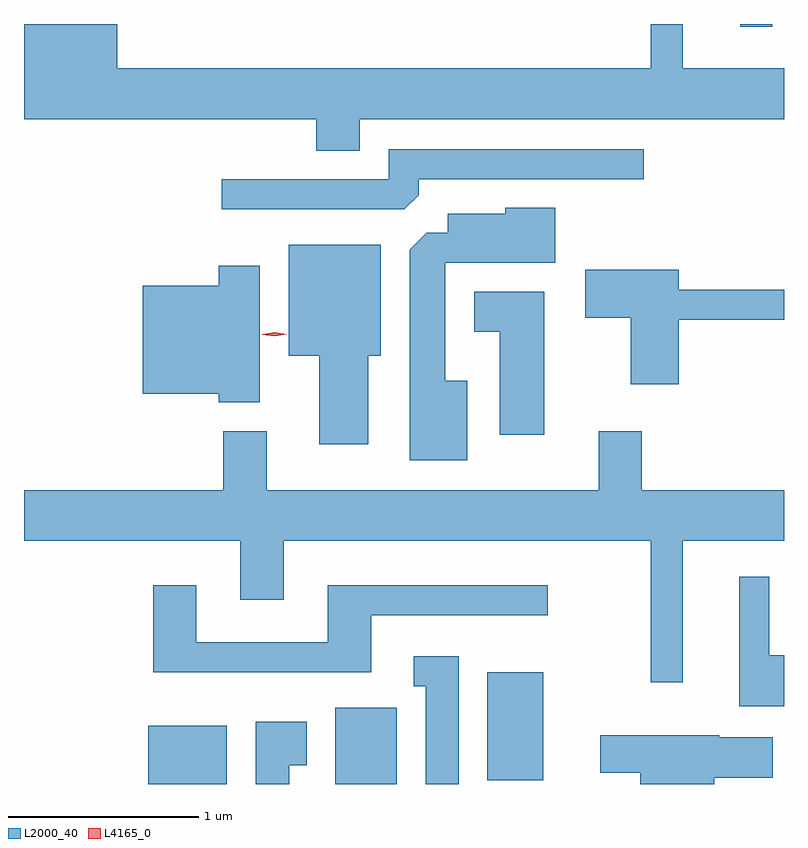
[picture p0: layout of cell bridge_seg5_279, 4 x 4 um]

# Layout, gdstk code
import gdstk
lib = gdstk.Library(unit=1e-6, precision=1e-09)
def R(c, l, rs):  # rectangles x0, y0, x1, y1
    for r in rs: c.add(gdstk.rectangle(r[:2], r[2:], *l))
def P(c, l, *ps):  # polygons
    for p in ps: c.add(gdstk.Polygon(p, *l))
L2000_40 = (2000, 40)
L4165_0 = (4165, 0)

bridge_seg5_279 = lib.new_cell('bridge_seg5_279')
R(bridge_seg5_279, L2000_40, [(776.956,1482.157,777.369,1482.464), (777.941,1482.157,778.264,1482.559), (778.741,1482.176,779.034,1482.744), (780.071,1486.143,780.239,1486.157)])
P(bridge_seg5_279, L2000_40, [(778.069,1485.656),(780.302,1485.656),(780.302,1485.924),(779.769,1485.924),(779.769,1486.157),(779.601,1486.157),(779.601,1485.924),(776.794,1485.924),(776.794,1486.157),(776.302,1486.157),(776.302,1485.656),(777.841,1485.656),(777.841,1485.491),(778.069,1485.491)],
  [(778.379,1485.257),(778.379,1485.341),(779.563,1485.341),(779.563,1485.499),(778.221,1485.499),(778.221,1485.339),(777.343,1485.339),(777.343,1485.181),(778.304,1485.181)],
  [(778.634,1484.279),(778.519,1484.279),(778.519,1484.901),(779.099,1484.901),(779.099,1485.189),(778.836,1485.189),(778.836,1485.159),(778.531,1485.159),(778.531,1485.059),(778.422,1485.059),(778.331,1484.969),(778.331,1483.861),(778.634,1483.861)],
  [(778.114,1484.411),(778.179,1484.411),(778.179,1484.994),(777.696,1484.994),(777.696,1484.411),(777.856,1484.411),(777.856,1483.946),(778.114,1483.946)],
  [(777.544,1484.884),(777.326,1484.884),(777.326,1484.779),(776.926,1484.779),(776.926,1484.211),(777.326,1484.211),(777.326,1484.166),(777.544,1484.166)],
  [(779.749,1484.601),(780.302,1484.601),(780.302,1484.759),(779.749,1484.759),(779.749,1484.864),(779.256,1484.864),(779.256,1484.611),(779.496,1484.611),(779.496,1484.261),(779.749,1484.261)],
  [(779.039,1484.749),(778.671,1484.749),(778.671,1484.536),(778.806,1484.536),(778.806,1483.996),(779.039,1483.996)],
  [(779.769,1483.436),(780.302,1483.436),(780.302,1483.704),(779.554,1483.704),(779.554,1484.014),(779.326,1484.014),(779.326,1483.704),(777.579,1483.704),(777.579,1484.014),(777.351,1484.014),(777.351,1483.704),(776.302,1483.704),(776.302,1483.436),(777.441,1483.436),(777.441,1483.126),(777.669,1483.126),(777.669,1483.436),(779.601,1483.436),(779.601,1482.693),(779.769,1482.693)],
  [(780.302,1482.834),(780.224,1482.834),(780.224,1483.248),(780.066,1483.248),(780.066,1482.566),(780.302,1482.566)],
  [(778.129,1483.046),(779.058,1483.046),(779.058,1483.204),(777.901,1483.204),(777.901,1482.904),(777.209,1482.904),(777.209,1483.204),(776.981,1483.204),(776.981,1482.746),(778.129,1482.746)],
  [(778.589,1482.829),(778.353,1482.829),(778.353,1482.671),(778.416,1482.671),(778.416,1482.157),(778.589,1482.157)],
  [(777.699,1482.256),(777.789,1482.256),(777.789,1482.484),(777.521,1482.484),(777.521,1482.157),(777.699,1482.157)],
  [(779.934,1482.191),(780.244,1482.191),(780.244,1482.404),(779.96,1482.404),(779.96,1482.414),(779.336,1482.414),(779.336,1482.216),(779.546,1482.216),(779.546,1482.157),(779.934,1482.157)])
P(bridge_seg5_279, L4165_0, [(777.621,1484.514),(777.556,1484.522),(777.556,1484.522),(777.556,1484.523),(777.621,1484.534),(777.686,1484.525),(777.686,1484.525),(777.686,1484.524)])

lib.write_gds('bridge_seg5_279.gds')
